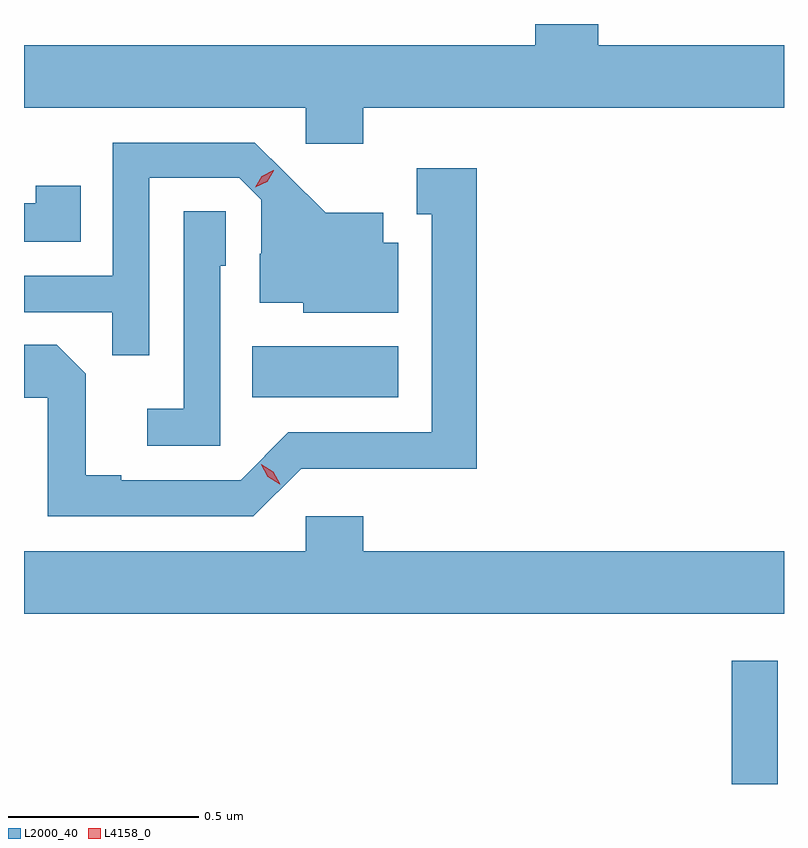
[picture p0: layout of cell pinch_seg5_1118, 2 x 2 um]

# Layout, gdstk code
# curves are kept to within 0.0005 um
import gdstk
lib = gdstk.Library(unit=1e-6, precision=1e-09)
def R(c, l, rs):  # rectangles x0, y0, x1, y1
    for r in rs: c.add(gdstk.rectangle(r[:2], r[2:], *l))
def P(c, l, *ps):  # polygons
    for p in ps: c.add(gdstk.Polygon(p, *l))
L2000_40 = (2000, 40)
L4158_0 = (4158, 0)

pinch_seg5_1118 = lib.new_cell('pinch_seg5_1118')
R(pinch_seg5_1118, L2000_40, [(803.742,853.648,803.863,853.972), (802.48,854.666,802.864,854.8)])
P(pinch_seg5_1118, L2000_40, [(802.772,855.428),(803.879,855.428),(803.879,855.592),(803.39,855.592),(803.39,855.648),(803.225,855.648),(803.225,855.592),(801.879,855.592),(801.879,855.428),(802.62,855.428),(802.62,855.333),(802.772,855.333)],
  [(802.209,855.243),(802.446,855.243),(802.503,855.186),(802.503,855.044),(802.499,855.044),(802.499,854.915),(802.614,854.915),(802.614,854.888),(802.864,854.888),(802.864,855.073),(802.825,855.073),(802.825,855.151),(802.673,855.151),(802.486,855.336),(802.113,855.336),(802.113,854.985),(801.879,854.985),(801.879,854.889),(802.111,854.889),(802.111,854.776),(802.209,854.776)],
  [(802.608,854.478),(802.83,854.478),(802.83,854.477),(803.071,854.477),(803.071,855.268),(802.913,855.268),(802.913,855.147),(802.952,855.147),(802.952,854.574),(802.575,854.574),(802.449,854.448),(802.135,854.448),(802.135,854.461),(802.041,854.461),(802.041,854.728),(801.965,854.804),(801.879,854.804),(801.879,854.664),(801.942,854.664),(801.942,854.352),(802.482,854.352)],
  [(802.028,855.223),(801.91,855.223),(801.91,855.176),(801.879,855.176),(801.879,855.075),(802.028,855.075)],
  [(802.395,855.012),(802.41,855.012),(802.41,855.155),(802.299,855.155),(802.299,854.635),(802.203,854.635),(802.203,854.538),(802.395,854.538)],
  [(803.879,854.26),(802.772,854.26),(802.772,854.353),(802.62,854.353),(802.62,854.26),(801.879,854.26),(801.879,854.096),(803.879,854.096)])
P(pinch_seg5_1118, L4158_0, [(802.552,854.437),(802.52,854.456),(802.503,854.488),(802.503,854.489),(802.503,854.489),(802.535,854.47),(802.553,854.437),(802.553,854.437)],
  [(802.488,855.218),(802.488,855.218),(802.505,855.247),(802.535,855.263),(802.536,855.263),(802.536,855.262),(802.519,855.233),(802.488,855.218)])

lib.write_gds('pinch_seg5_1118.gds')
